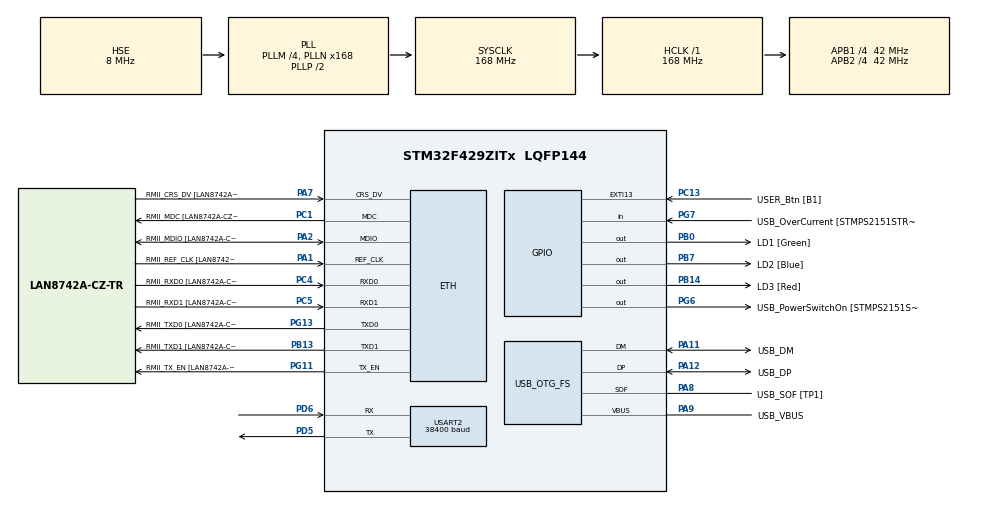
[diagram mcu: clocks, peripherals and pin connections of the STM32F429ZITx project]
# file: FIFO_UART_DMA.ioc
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Dma.Request0=USART2_TX
Dma.Request1=USART2_RX
Dma.USART2_RX.1.Direction=DMA_PERIPH_TO_MEMORY
Dma.USART2_RX.1.FIFOMode=DMA_FIFOMODE_DISABLE
Dma.USART2_RX.1.Instance=DMA1_Stream5
Dma.USART2_RX.1.MemDataAlignment=DMA_MDATAALIGN_BYTE
Dma.USART2_RX.1.MemInc=DMA_MINC_ENABLE
Dma.USART2_RX.1.Mode=DMA_NORMAL
Dma.USART2_RX.1.PeriphDataAlignment=DMA_PDATAALIGN_BYTE
Dma.USART2_RX.1.PeriphInc=DMA_PINC_DISABLE
Dma.USART2_RX.1.Priority=DMA_PRIORITY_LOW
Dma.USART2_TX.0.Direction=DMA_MEMORY_TO_PERIPH
Dma.USART2_TX.0.FIFOMode=DMA_FIFOMODE_DISABLE
Dma.USART2_TX.0.Instance=DMA1_Stream6
Dma.USART2_TX.0.MemDataAlignment=DMA_MDATAALIGN_BYTE
Dma.USART2_TX.0.MemInc=DMA_MINC_ENABLE
Dma.USART2_TX.0.Mode=DMA_NORMAL
Dma.USART2_TX.0.PeriphDataAlignment=DMA_PDATAALIGN_BYTE
Dma.USART2_TX.0.PeriphInc=DMA_PINC_DISABLE
Dma.USART2_TX.0.Priority=DMA_PRIORITY_LOW
ETH.MediaInterface=HAL_ETH_RMII_MODE
ETH.PHY_Name=LAN8742A_PHY_ADDRESS
ETH.PHY_Value=0
ETH.PhyAddress=0
Mcu.Family=STM32F4
Mcu.Name=STM32F429ZITx
Mcu.Package=LQFP144
NVIC.DMA1_Stream5_IRQn=true\:0\:0\:false\:false\:true\:false\:true\:true
NVIC.DMA1_Stream6_IRQn=true\:0\:0\:false\:false\:true\:false\:true\:true
NVIC.PriorityGroup=NVIC_PRIORITYGROUP_4
NVIC.TIM3_IRQn=true\:0\:0\:false\:false\:true\:true\:true\:true
NVIC.USART2_IRQn=true\:0\:0\:false\:false\:true\:true\:true\:true
PA1.GPIO_Label=RMII_REF_CLK [LAN8742A-CZ-TR_REFCLK0]
PA1.Mode=RMII
PA1.Signal=ETH_REF_CLK
PA10.GPIO_Label=USB_ID
PA10.Signal=USB_OTG_FS_ID
PA11.GPIO_Label=USB_DM
PA11.Mode=Device_Only
PA11.Signal=USB_OTG_FS_DM
PA12.GPIO_Label=USB_DP
PA12.Mode=Device_Only
PA12.Signal=USB_OTG_FS_DP
PA13.GPIO_Label=TMS
PA13.Mode=Serial_Wire
PA13.Signal=SYS_JTMS-SWDIO
PA14.GPIO_Label=TCK
PA14.Mode=Serial_Wire
PA14.Signal=SYS_JTCK-SWCLK
PA2.GPIO_Label=RMII_MDIO [LAN8742A-CZ-TR_MDIO]
PA2.Mode=RMII
PA2.Signal=ETH_MDIO
PA7.GPIO_Label=RMII_CRS_DV [LAN8742A-CZ-TR_CRS_DV]
PA7.Mode=RMII
PA7.Signal=ETH_CRS_DV
PA8.GPIO_Label=USB_SOF [TP1]
PA8.Mode=Activate_SOF_FS
PA8.Signal=USB_OTG_FS_SOF
PA9.GPIO_Label=USB_VBUS
PA9.Mode=Activate_VBUS
PA9.Signal=USB_OTG_FS_VBUS
PB0.GPIO_Label=LD1 [Green]
PB0.Signal=GPIO_Output
PB13.GPIO_Label=RMII_TXD1 [LAN8742A-CZ-TR_TXD1]
PB13.Mode=RMII
PB13.Signal=ETH_TXD1
PB14.GPIO_Label=LD3 [Red]
PB14.Signal=GPIO_Output
PB7.GPIO_Label=LD2 [Blue]
PB7.Signal=GPIO_Output
PC1.GPIO_Label=RMII_MDC [LAN8742A-CZ-TR_MDC]
PC1.Mode=RMII
PC1.Signal=ETH_MDC
PC13.GPIO_Label=USER_Btn [B1]
PC13.Signal=GPXTI13
PC14/OSC32_IN.Mode=LSE-External-Oscillator
PC14/OSC32_IN.Signal=RCC_OSC32_IN
PC15/OSC32_OUT.Mode=LSE-External-Oscillator
PC15/OSC32_OUT.Signal=RCC_OSC32_OUT
PC4.GPIO_Label=RMII_RXD0 [LAN8742A-CZ-TR_RXD0]
PC4.Mode=RMII
PC4.Signal=ETH_RXD0
PC5.GPIO_Label=RMII_RXD1 [LAN8742A-CZ-TR_RXD1]
PC5.Mode=RMII
PC5.Signal=ETH_RXD1
PD5.Mode=Asynchronous
PD5.Signal=USART2_TX
PD6.Mode=Asynchronous
PD6.Signal=USART2_RX
PD8.GPIO_Label=STLK_RX [STM32F103CBT6_PA3]
PD8.Signal=USART3_TX
PD9.GPIO_Label=STLK_TX [STM32F103CBT6_PA2]
PD9.Signal=USART3_RX
PG11.GPIO_Label=RMII_TX_EN [LAN8742A-CZ-TR_TXEN]
PG11.Mode=RMII
PG11.Signal=ETH_TX_EN
PG13.GPIO_Label=RMII_TXD0 [LAN8742A-CZ-TR_TXD0]
PG13.Mode=RMII
PG13.Signal=ETH_TXD0
PG6.GPIO_Label=USB_PowerSwitchOn [STMPS2151STR_EN]
PG6.Signal=GPIO_Output
PG7.GPIO_Label=USB_OverCurrent [STMPS2151STR_FAULT]
PG7.Signal=GPIO_Input
PH0/OSC_IN.GPIO_Label=MCO [STM32F103CBT6_PA8]
PH0/OSC_IN.Mode=HSE-External-Clock-Source
PH0/OSC_IN.Signal=RCC_OSC_IN
PH1/OSC_OUT.Mode=HSE-External-Clock-Source
PH1/OSC_OUT.Signal=RCC_OSC_OUT
ProjectManager.HeapSize=0x200
ProjectManager.StackSize=0x400
ProjectManager.TargetToolchain=STM32CubeIDE
RCC.48MHZClocksFreq_Value=48000000
RCC.AHBFreq_Value=168000000
RCC.APB1CLKDivider=RCC_HCLK_DIV4
RCC.APB1Freq_Value=42000000
RCC.APB1TimFreq_Value=84000000
RCC.APB2CLKDivider=RCC_HCLK_DIV4
RCC.APB2Freq_Value=42000000
RCC.APB2TimFreq_Value=84000000
RCC.CortexFreq_Value=168000000
RCC.EnbaleCSS=true
RCC.HCLKFreq_Value=168000000
RCC.HSE_VALUE=8000000
RCC.HSI_VALUE=16000000
RCC.PLLM=4
RCC.PLLMUL=RCC_PLL_MUL9
RCC.PLLN=168
RCC.PLLQ=7
RCC.PRESCALERUSB=RCC_USBCLKSOURCE_PLL_DIV1_5
RCC.RCC_PERIPHCLK_I2SVar=RCC_PERIPHCLK_I2S
RCC.SYSCLKFreq_VALUE=168000000
RCC.SYSCLKSource=RCC_SYSCLKSOURCE_PLLCLK
RCC.SYSCLKSourceVirtual=RCC_SYSCLKSOURCE_PLLCLK
RCC.USBFreq_Value=48000000
RCC.VCOOutputFreq_Value=336000000
TIM3.CounterMode=TIM_COUNTERMODE_UP
TIM3.Period=100-1
TIM3.Prescaler=8400-1
USART2.BaudRate=38400
USART2.VirtualMode=VM_ASYNC
USB_OTG_FS.VirtualMode=Device_Only
VP_TIM3_VS_ClockSourceINT.Mode=Internal
board=NUCLEO-F429ZI

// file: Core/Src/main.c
/* USER CODE BEGIN Header */
/**
  ******************************************************************************
  * @file           : main.c
  * @brief          : Main program body
  ******************************************************************************
  * @attention
  *
  * Copyright (c) 2022 STMicroelectronics.
  * All rights reserved.
  *
  * This software is licensed under terms that can be found in the LICENSE file
  * in the root directory of this software component.
  * If no LICENSE file comes with this software, it is provided AS-IS.
  *
  ******************************************************************************
  */
/* USER CODE END Header */
#include "main.h"
#include "string.h"

ETH_TxPacketConfig TxConfig;
ETH_DMADescTypeDef  DMARxDscrTab[ETH_RX_DESC_CNT]; /* Ethernet Rx DMA Descriptors */
ETH_DMADescTypeDef  DMATxDscrTab[ETH_TX_DESC_CNT]; /* Ethernet Tx DMA Descriptors */

ETH_HandleTypeDef heth;

TIM_HandleTypeDef htim3;

UART_HandleTypeDef huart2;
DMA_HandleTypeDef hdma_usart2_tx;
DMA_HandleTypeDef hdma_usart2_rx;

PCD_HandleTypeDef hpcd_USB_OTG_FS;

/* USER CODE BEGIN PV */

uint8_t data1[DATA_SIZE] = {0x1,0x1,0x1,0x1,0x1,0x1,0x1,0x1,0x1,0x1,0x1,0x1,0x1,0x1,0x1,0x1,0x1,0x1,0x1,0x1,0x1,0x1,0x1,0x1,0x1,0x1,0x1,0x1,0x1,0x1,0x1,0x1};
uint8_t data2[DATA_SIZE] = {0x2,0x2,0x2,0x2,0x2,0x2,0x2,0x2,0x2,0x2,0x2,0x2,0x2,0x2,0x2,0x2,0x2,0x2,0x2,0x2,0x2,0x2,0x2,0x2,0x2,0x2,0x2,0x2,0x2,0x2,0x2,0x2};
uint8_t data3[DATA_SIZE] = {0x3,0x3,0x3,0x3,0x3,0x3,0x3,0x3,0x3,0x3,0x3,0x3,0x3,0x3,0x3,0x3,0x3,0x3,0x3,0x3,0x3,0x3,0x3,0x3,0x3,0x3,0x3,0x3,0x3,0x3,0x3,0x3};
uint8_t data4[DATA_SIZE] = {0x4,0x4,0x4,0x4,0x4,0x4,0x4,0x4,0x4,0x4,0x4,0x4,0x4,0x4,0x4,0x4,0x4,0x4,0x4,0x4,0x4,0x4,0x4,0x4,0x4,0x4,0x4,0x4,0x4,0x4,0x4,0x4};
uint8_t data5[DATA_SIZE] = {0x5,0x5,0x5,0x5,0x5,0x5,0x5,0x5,0x5,0x5,0x5,0x5,0x5,0x5,0x5,0x5,0x5,0x5,0x5,0x5,0x5,0x5,0x5,0x5,0x5,0x5,0x5,0x5,0x5,0x5,0x5,0x5};
uint8_t data6[DATA_SIZE] = {0x6,0x6,0x6,0x6,0x6,0x6,0x6,0x6,0x6,0x6,0x6,0x6,0x6,0x6,0x6,0x6,0x6,0x6,0x6,0x6,0x6,0x6,0x6,0x6,0x6,0x6,0x6,0x6,0x6,0x6,0x6,0x6};
uint8_t data7[DATA_SIZE] = {0x7,0x7,0x7,0x7,0x7,0x7,0x7,0x7,0x7,0x7,0x7,0x7,0x7,0x7,0x7,0x7,0x7,0x7,0x7,0x7,0x7,0x7,0x7,0x7,0x7,0x7,0x7,0x7,0x7,0x7,0x7,0x7};
uint8_t data8[DATA_SIZE] = {0x8,0x8,0x8,0x8,0x8,0x8,0x8,0x8,0x8,0x8,0x8,0x8,0x8,0x8,0x8,0x8,0x8,0x8,0x8,0x8,0x8,0x8,0x8,0x8,0x8,0x8,0x8,0x8,0x8,0x8,0x8,0x8};
uint8_t data9[DATA_SIZE] = {0x9,0x9,0x9,0x9,0x9,0x9,0x9,0x9,0x9,0x9,0x9,0x9,0x9,0x9,0x9,0x9,0x9,0x9,0x9,0x9,0x9,0x9,0x9,0x9,0x9,0x9,0x9,0x9,0x9,0x9,0x9,0x9};

extern FIFO fifo;

/* USER CODE END PV */

void SystemClock_Config(void);
void PeriphCommonClock_Config(void);
static void MX_GPIO_Init(void);
static void MX_ETH_Init(void);
static void MX_DMA_Init(void);
static void MX_USB_OTG_FS_PCD_Init(void);
static void MX_USART2_UART_Init(void);
static void MX_TIM3_Init(void);

/* USER CODE BEGIN 0 */

void HAL_UART_RxCpltCallback(UART_HandleTypeDef *huart){
}

void HAL_UART_TxCpltCallback(UART_HandleTypeDef *huart){
	HAL_GPIO_TogglePin(LD1_GPIO_Port, LD1_Pin);
	fifo.UARTindex++;
}

/* USER CODE END 0 */

int main(void)
{

  /* MCU Configuration--------------------------------------------------------*/

  /* Reset of all peripherals, Initializes the Flash interface and the Systick. */
  HAL_Init();

  /* Configure the system clock */
  SystemClock_Config();

/* Configure the peripherals common clocks */
  PeriphCommonClock_Config();

  /* Initialize all configured peripherals */
  MX_GPIO_Init();
  MX_ETH_Init();
  MX_DMA_Init();
  MX_USB_OTG_FS_PCD_Init();
  MX_USART2_UART_Init();
  MX_TIM3_Init();
  /* USER CODE BEGIN 2 */

  HAL_TIM_Base_Start_IT(&htim3);

  /* USER CODE END 2 */

  /* Infinite loop */
  /* USER CODE BEGIN WHILE */

  while (1)
  {
	  HAL_GPIO_TogglePin(LD2_GPIO_Port, LD2_Pin);

	  fifo_write(data1);
	  HAL_Delay(2);
	  fifo_write(data2);
	  HAL_Delay(2);
	  fifo_write(data3);
	  HAL_Delay(2);
	  fifo_write(data4);
	  HAL_Delay(2);
	  fifo_write(data5);
	  HAL_Delay(2);
	  fifo_write(data6);
	  HAL_Delay(2);
	  fifo_write(data7);
	  HAL_Delay(2);
	  fifo_write(data8);
	  HAL_Delay(2);
	  fifo_write(data9);

    /* USER CODE END WHILE */

  }
}

void SystemClock_Config(void)
{
  RCC_OscInitTypeDef RCC_OscInitStruct = {0};
  RCC_ClkInitTypeDef RCC_ClkInitStruct = {0};

  /** Configure the main internal regulator output voltage
  */
  __HAL_RCC_PWR_CLK_ENABLE();
  __HAL_PWR_VOLTAGESCALING_CONFIG(PWR_REGULATOR_VOLTAGE_SCALE1);

  /** Initializes the RCC Oscillators according to the specified parameters
  * in the RCC_OscInitTypeDef structure.
  */
  RCC_OscInitStruct.OscillatorType = RCC_OSCILLATORTYPE_HSE;
  RCC_OscInitStruct.HSEState = RCC_HSE_BYPASS;
  RCC_OscInitStruct.PLL.PLLState = RCC_PLL_ON;
  RCC_OscInitStruct.PLL.PLLSource = RCC_PLLSOURCE_HSE;
  RCC_OscInitStruct.PLL.PLLM = 4;
  RCC_OscInitStruct.PLL.PLLN = 168;
  RCC_OscInitStruct.PLL.PLLP = RCC_PLLP_DIV2;
  RCC_OscInitStruct.PLL.PLLQ = 7;
  if (HAL_RCC_OscConfig(&RCC_OscInitStruct) != HAL_OK)
  {
    Error_Handler();
  }

  /** Initializes the CPU, AHB and APB buses clocks
  */
  RCC_ClkInitStruct.ClockType = RCC_CLOCKTYPE_HCLK|RCC_CLOCKTYPE_SYSCLK
                              |RCC_CLOCKTYPE_PCLK1|RCC_CLOCKTYPE_PCLK2;
  RCC_ClkInitStruct.SYSCLKSource = RCC_SYSCLKSOURCE_PLLCLK;
  RCC_ClkInitStruct.AHBCLKDivider = RCC_SYSCLK_DIV1;
  RCC_ClkInitStruct.APB1CLKDivider = RCC_HCLK_DIV4;
  RCC_ClkInitStruct.APB2CLKDivider = RCC_HCLK_DIV4;

  if (HAL_RCC_ClockConfig(&RCC_ClkInitStruct, FLASH_LATENCY_5) != HAL_OK)
  {
    Error_Handler();
  }

  /** Enables the Clock Security System
  */
  HAL_RCC_EnableCSS();
}

void PeriphCommonClock_Config(void)
{
  RCC_PeriphCLKInitTypeDef PeriphClkInitStruct = {0};

  /** Initializes the peripherals clock
  */
  PeriphClkInitStruct.PeriphClockSelection = RCC_PERIPHCLK_I2S;
  if (HAL_RCCEx_PeriphCLKConfig(&PeriphClkInitStruct) != HAL_OK)
  {
    Error_Handler();
  }
}

static void MX_ETH_Init(void)
{

   static uint8_t MACAddr[6];

  heth.Instance = ETH;
  MACAddr[0] = 0x00;
  MACAddr[1] = 0x80;
  MACAddr[2] = 0xE1;
  MACAddr[3] = 0x00;
  MACAddr[4] = 0x00;
  MACAddr[5] = 0x00;
  heth.Init.MACAddr = &MACAddr[0];
  heth.Init.MediaInterface = HAL_ETH_RMII_MODE;
  heth.Init.TxDesc = DMATxDscrTab;
  heth.Init.RxDesc = DMARxDscrTab;
  heth.Init.RxBuffLen = 1524;

  if (HAL_ETH_Init(&heth) != HAL_OK)
  {
    Error_Handler();
  }

  memset(&TxConfig, 0 , sizeof(ETH_TxPacketConfig));
  TxConfig.Attributes = ETH_TX_PACKETS_FEATURES_CSUM | ETH_TX_PACKETS_FEATURES_CRCPAD;
  TxConfig.ChecksumCtrl = ETH_CHECKSUM_IPHDR_PAYLOAD_INSERT_PHDR_CALC;
  TxConfig.CRCPadCtrl = ETH_CRC_PAD_INSERT;

}

static void MX_TIM3_Init(void)
{

  TIM_ClockConfigTypeDef sClockSourceConfig = {0};
  TIM_MasterConfigTypeDef sMasterConfig = {0};

  htim3.Instance = TIM3;
  htim3.Init.Prescaler = 8400-1;
  htim3.Init.CounterMode = TIM_COUNTERMODE_UP;
  htim3.Init.Period = 100-1;
  htim3.Init.ClockDivision = TIM_CLOCKDIVISION_DIV1;
  htim3.Init.AutoReloadPreload = TIM_AUTORELOAD_PRELOAD_DISABLE;
  if (HAL_TIM_Base_Init(&htim3) != HAL_OK)
  {
    Error_Handler();
  }
  sClockSourceConfig.ClockSource = TIM_CLOCKSOURCE_INTERNAL;
  if (HAL_TIM_ConfigClockSource(&htim3, &sClockSourceConfig) != HAL_OK)
  {
    Error_Handler();
  }
  sMasterConfig.MasterOutputTrigger = TIM_TRGO_RESET;
  sMasterConfig.MasterSlaveMode = TIM_MASTERSLAVEMODE_DISABLE;
  if (HAL_TIMEx_MasterConfigSynchronization(&htim3, &sMasterConfig) != HAL_OK)
  {
    Error_Handler();
  }

}

static void MX_USART2_UART_Init(void)
{

  huart2.Instance = USART2;
  huart2.Init.BaudRate = 38400;
  huart2.Init.WordLength = UART_WORDLENGTH_8B;
  huart2.Init.StopBits = UART_STOPBITS_1;
  huart2.Init.Parity = UART_PARITY_NONE;
  huart2.Init.Mode = UART_MODE_TX_RX;
  huart2.Init.HwFlowCtl = UART_HWCONTROL_NONE;
  huart2.Init.OverSampling = UART_OVERSAMPLING_16;
  if (HAL_UART_Init(&huart2) != HAL_OK)
  {
    Error_Handler();
  }

}

static void MX_USB_OTG_FS_PCD_Init(void)
{

  hpcd_USB_OTG_FS.Instance = USB_OTG_FS;
  hpcd_USB_OTG_FS.Init.dev_endpoints = 4;
  hpcd_USB_OTG_FS.Init.speed = PCD_SPEED_FULL;
  hpcd_USB_OTG_FS.Init.dma_enable = DISABLE;
  hpcd_USB_OTG_FS.Init.phy_itface = PCD_PHY_EMBEDDED;
  hpcd_USB_OTG_FS.Init.Sof_enable = ENABLE;
  hpcd_USB_OTG_FS.Init.low_power_enable = DISABLE;
  hpcd_USB_OTG_FS.Init.lpm_enable = DISABLE;
  hpcd_USB_OTG_FS.Init.vbus_sensing_enable = ENABLE;
  hpcd_USB_OTG_FS.Init.use_dedicated_ep1 = DISABLE;
  if (HAL_PCD_Init(&hpcd_USB_OTG_FS) != HAL_OK)
  {
    Error_Handler();
  }

}

static void MX_DMA_Init(void)
{

  /* DMA controller clock enable */
  __HAL_RCC_DMA1_CLK_ENABLE();

  /* DMA interrupt init */
  /* DMA1_Stream5_IRQn interrupt configuration */
  HAL_NVIC_SetPriority(DMA1_Stream5_IRQn, 0, 0);
  HAL_NVIC_EnableIRQ(DMA1_Stream5_IRQn);
  /* DMA1_Stream6_IRQn interrupt configuration */
  HAL_NVIC_SetPriority(DMA1_Stream6_IRQn, 0, 0);
  HAL_NVIC_EnableIRQ(DMA1_Stream6_IRQn);

}

static void MX_GPIO_Init(void)
{
  GPIO_InitTypeDef GPIO_InitStruct = {0};

  /* GPIO Ports Clock Enable */
  __HAL_RCC_GPIOC_CLK_ENABLE();
  __HAL_RCC_GPIOH_CLK_ENABLE();
  __HAL_RCC_GPIOA_CLK_ENABLE();
  __HAL_RCC_GPIOB_CLK_ENABLE();
  __HAL_RCC_GPIOD_CLK_ENABLE();
  __HAL_RCC_GPIOG_CLK_ENABLE();

  /*Configure GPIO pin Output Level */
  HAL_GPIO_WritePin(GPIOB, LD1_Pin|LD3_Pin|LD2_Pin, GPIO_PIN_RESET);

  /*Configure GPIO pin Output Level */
  HAL_GPIO_WritePin(USB_PowerSwitchOn_GPIO_Port, USB_PowerSwitchOn_Pin, GPIO_PIN_RESET);

  /*Configure GPIO pin : USER_Btn_Pin */
  GPIO_InitStruct.Pin = USER_Btn_Pin;
  GPIO_InitStruct.Mode = GPIO_MODE_IT_RISING;
  GPIO_InitStruct.Pull = GPIO_NOPULL;
  HAL_GPIO_Init(USER_Btn_GPIO_Port, &GPIO_InitStruct);

  /*Configure GPIO pins : LD1_Pin LD3_Pin LD2_Pin */
  GPIO_InitStruct.Pin = LD1_Pin|LD3_Pin|LD2_Pin;
  GPIO_InitStruct.Mode = GPIO_MODE_OUTPUT_PP;
  GPIO_InitStruct.Pull = GPIO_NOPULL;
  GPIO_InitStruct.Speed = GPIO_SPEED_FREQ_LOW;
  HAL_GPIO_Init(GPIOB, &GPIO_InitStruct);

  /*Configure GPIO pins : STLK_RX_Pin STLK_TX_Pin */
  GPIO_InitStruct.Pin = STLK_RX_Pin|STLK_TX_Pin;
  GPIO_InitStruct.Mode = GPIO_MODE_AF_PP;
  GPIO_InitStruct.Pull = GPIO_NOPULL;
  GPIO_InitStruct.Speed = GPIO_SPEED_FREQ_VERY_HIGH;
  GPIO_InitStruct.Alternate = GPIO_AF7_USART3;
  HAL_GPIO_Init(GPIOD, &GPIO_InitStruct);

  /*Configure GPIO pin : USB_PowerSwitchOn_Pin */
  GPIO_InitStruct.Pin = USB_PowerSwitchOn_Pin;
  GPIO_InitStruct.Mode = GPIO_MODE_OUTPUT_PP;
  GPIO_InitStruct.Pull = GPIO_NOPULL;
  GPIO_InitStruct.Speed = GPIO_SPEED_FREQ_LOW;
  HAL_GPIO_Init(USB_PowerSwitchOn_GPIO_Port, &GPIO_InitStruct);

  /*Configure GPIO pin : USB_OverCurrent_Pin */
  GPIO_InitStruct.Pin = USB_OverCurrent_Pin;
  GPIO_InitStruct.Mode = GPIO_MODE_INPUT;
  GPIO_InitStruct.Pull = GPIO_NOPULL;
  HAL_GPIO_Init(USB_OverCurrent_GPIO_Port, &GPIO_InitStruct);

}

void Error_Handler(void)
{
  __disable_irq();
  while (1)
  {
  }
}
